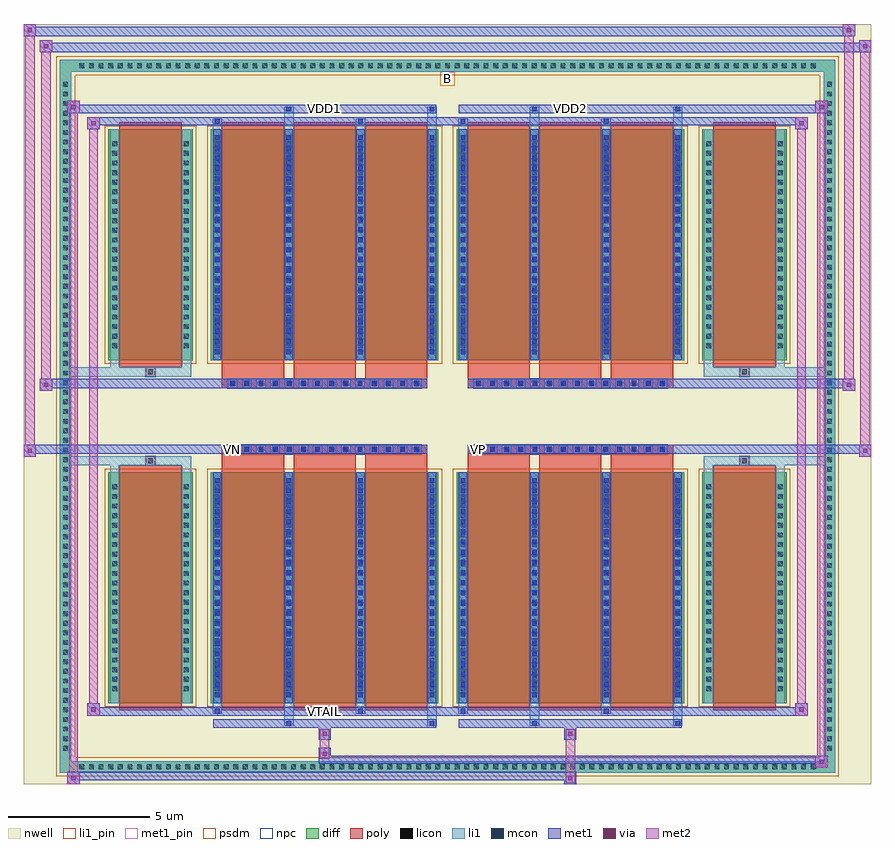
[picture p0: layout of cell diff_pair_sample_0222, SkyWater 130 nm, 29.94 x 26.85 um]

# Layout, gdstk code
import gdstk
lib = gdstk.Library(unit=1e-6, precision=5e-09)
def R(c, l, rs):  # rectangles x0, y0, x1, y1
    for r in rs: c.add(gdstk.rectangle(r[:2], r[2:], *l))
def A(c, l, x, y, w, h, nx, ny, dx, dy):  # array of equal rectangles
    R(c, l, [(x+i*dx, y+j*dy, x+i*dx+w, y+j*dy+h) for i in range(nx) for j in range(ny)])
def P(c, l, *ps):  # polygons
    for p in ps: c.add(gdstk.Polygon(p, *l))
nwell = (64, 20)
diff = (65, 20)
poly = (66, 20)
licon = (66, 44)
li1_pin = (67, 16)
li1 = (67, 20)
mcon = (67, 44)
met1_pin = (68, 16)
met1 = (68, 20)
via = (68, 44)
met2 = (69, 20)
psdm = (94, 20)
npc = (95, 20)

diff_pair_sample_0222 = lib.new_cell('diff_pair_sample_0222')
R(diff_pair_sample_0222, nwell, [(-14.97,-12.99,14.97,13.86), (-12.29,-11.18,-0.01,-0.8), (0.01,-11.18,12.29,-0.8), (-12.29,0.8,-0.01,11.18), (0.01,0.8,12.29,11.18)])
A(diff_pair_sample_0222, diff, -13.125, -12.59, 0.41, 0.41, 77, 2, 0.34, 24.77)
A(diff_pair_sample_0222, diff, -13.7, -11.935, 0.41, 0.41, 1, 70, 0, 0.34)
A(diff_pair_sample_0222, diff, 13.29, -11.935, 0.41, 0.41, 1, 70, 0, 0.34)
R(diff_pair_sample_0222, diff, [(-13.125,-12.59,13.125,-12.18), (-13.7,-11.935,-13.29,11.935), (13.29,-11.935,13.7,11.935), (-11.98,-10.135,-9,-1.985), (-8.36,-10.135,-0.32,-1.985), (0.32,-10.135,8.36,-1.985), (9,-10.135,11.98,-1.985), (-11.98,1.985,-9,10.135), (-8.36,1.985,-0.32,10.135), (0.32,1.985,8.36,10.135), (9,1.985,11.98,10.135), (-13.125,12.18,13.125,12.59)])
P(diff_pair_sample_0222, diff, [(13.7,12.59),(-13.7,12.59),(-13.7,-12.18),(-13.29,-12.18),(-13.29,12.18),(13.29,12.18),(13.29,-12.18),(-13.29,-12.18),(-13.7,-12.18),(-13.7,-12.59),(13.7,-12.59)])
A(diff_pair_sample_0222, poly, -7.97, -10.385, 2.2, 8.65, 3, 2, 2.53, 12.12)
A(diff_pair_sample_0222, poly, 0.71, -10.385, 2.2, 8.65, 3, 2, 2.53, 12.12)
A(diff_pair_sample_0222, poly, -7.97, -1.735, 2.2, 0.405, 3, 2, 2.53, 3.065)
A(diff_pair_sample_0222, poly, 0.71, -1.735, 2.2, 0.405, 3, 2, 2.53, 3.065)
A(diff_pair_sample_0222, poly, -7.755, -1.33, 0.33, 0.33, 14, 2, 0.5, 2.33)
A(diff_pair_sample_0222, poly, 0.925, -1.33, 0.33, 0.33, 14, 2, 0.5, 2.33)
R(diff_pair_sample_0222, poly, [(-11.59,-10.385,-9.39,-1.735), (9.39,-10.385,11.59,-1.735), (-10.655,-1.735,-10.325,-1.405), (-10.655,-1.735,-10.325,-1.405), (10.325,-1.735,10.655,-1.405), (10.325,-1.735,10.655,-1.405), (-7.97,-1.33,-0.71,-1), (0.71,-1.33,7.97,-1), (-7.97,1,-0.71,1.33), (0.71,1,7.97,1.33), (-10.655,1.405,-10.325,1.735), (-10.655,1.405,-10.325,1.735), (10.325,1.405,10.655,1.735), (10.325,1.405,10.655,1.735), (-11.59,1.735,-9.39,10.385), (9.39,1.735,11.59,10.385)])
A(diff_pair_sample_0222, licon, -13.005, -12.47, 0.17, 0.17, 77, 2, 0.34, 24.77)
A(diff_pair_sample_0222, licon, -13.58, -11.815, 0.17, 0.17, 1, 70, 0, 0.34)
A(diff_pair_sample_0222, licon, 13.41, -11.815, 0.17, 0.17, 1, 70, 0, 0.34)
A(diff_pair_sample_0222, licon, -11.84, -9.715, 0.17, 0.17, 1, 22, 0, 0.34)
A(diff_pair_sample_0222, licon, -9.31, -9.715, 0.17, 0.17, 1, 22, 0, 0.34)
A(diff_pair_sample_0222, licon, -8.22, -9.715, 0.17, 0.17, 4, 22, 2.53, 0.34)
A(diff_pair_sample_0222, licon, 0.46, -9.715, 0.17, 0.17, 4, 22, 2.53, 0.34)
A(diff_pair_sample_0222, licon, 9.14, -9.715, 0.17, 0.17, 1, 22, 0, 0.34)
A(diff_pair_sample_0222, licon, 11.67, -9.715, 0.17, 0.17, 1, 22, 0, 0.34)
A(diff_pair_sample_0222, licon, -7.675, -1.25, 0.17, 0.17, 14, 2, 0.5, 2.33)
A(diff_pair_sample_0222, licon, 1.005, -1.25, 0.17, 0.17, 14, 2, 0.5, 2.33)
A(diff_pair_sample_0222, licon, -11.84, 2.405, 0.17, 0.17, 1, 22, 0, 0.34)
A(diff_pair_sample_0222, licon, -9.31, 2.405, 0.17, 0.17, 1, 22, 0, 0.34)
A(diff_pair_sample_0222, licon, -8.22, 2.405, 0.17, 0.17, 4, 22, 2.53, 0.34)
A(diff_pair_sample_0222, licon, 0.46, 2.405, 0.17, 0.17, 4, 22, 2.53, 0.34)
A(diff_pair_sample_0222, licon, 9.14, 2.405, 0.17, 0.17, 1, 22, 0, 0.34)
A(diff_pair_sample_0222, licon, 11.67, 2.405, 0.17, 0.17, 1, 22, 0, 0.34)
R(diff_pair_sample_0222, licon, [(-10.575,-1.655,-10.405,-1.485), (10.405,-1.655,10.575,-1.485), (-10.575,1.485,-10.405,1.655), (10.405,1.485,10.575,1.655)])
R(diff_pair_sample_0222, li1_pin, [(-0.25,11.68,0.25,12.18)])
A(diff_pair_sample_0222, li1, -13.085, -12.55, 0.33, 0.33, 77, 2, 0.34, 24.77)
A(diff_pair_sample_0222, li1, -13.66, -11.895, 0.33, 0.33, 1, 70, 0, 0.34)
A(diff_pair_sample_0222, li1, 13.33, -11.895, 0.33, 0.33, 1, 70, 0, 0.34)
A(diff_pair_sample_0222, li1, -8.3, -10.135, 0.33, 8.15, 4, 2, 2.53, 12.12)
A(diff_pair_sample_0222, li1, 0.38, -10.135, 0.33, 8.15, 4, 2, 2.53, 12.12)
A(diff_pair_sample_0222, li1, -8.22, -9.925, 0.17, 0.17, 4, 22, 2.53, 0.36)
A(diff_pair_sample_0222, li1, -8.22, -9.925, 0.17, 7.73, 4, 2, 2.53, 12.12)
A(diff_pair_sample_0222, li1, 0.46, -9.925, 0.17, 0.17, 4, 22, 2.53, 0.36)
A(diff_pair_sample_0222, li1, 0.46, -9.925, 0.17, 7.73, 4, 2, 2.53, 12.12)
A(diff_pair_sample_0222, li1, -11.92, -9.795, 0.33, 0.33, 1, 22, 0, 0.34)
A(diff_pair_sample_0222, li1, -9.39, -9.795, 0.33, 0.33, 1, 22, 0, 0.34)
A(diff_pair_sample_0222, li1, -8.3, -9.795, 0.33, 0.33, 4, 22, 2.53, 0.34)
A(diff_pair_sample_0222, li1, 0.38, -9.795, 0.33, 0.33, 4, 22, 2.53, 0.34)
A(diff_pair_sample_0222, li1, 9.06, -9.795, 0.33, 0.33, 1, 22, 0, 0.34)
A(diff_pair_sample_0222, li1, 11.59, -9.795, 0.33, 0.33, 1, 22, 0, 0.34)
A(diff_pair_sample_0222, li1, -7.755, -1.33, 0.33, 0.33, 14, 2, 0.5, 2.33)
A(diff_pair_sample_0222, li1, 0.925, -1.33, 0.33, 0.33, 14, 2, 0.5, 2.33)
A(diff_pair_sample_0222, li1, -8.22, 2.195, 0.17, 0.17, 4, 22, 2.53, 0.36)
A(diff_pair_sample_0222, li1, 0.46, 2.195, 0.17, 0.17, 4, 22, 2.53, 0.36)
A(diff_pair_sample_0222, li1, -11.92, 2.325, 0.33, 0.33, 1, 22, 0, 0.34)
A(diff_pair_sample_0222, li1, -9.39, 2.325, 0.33, 0.33, 1, 22, 0, 0.34)
A(diff_pair_sample_0222, li1, -8.3, 2.325, 0.33, 0.33, 4, 22, 2.53, 0.34)
A(diff_pair_sample_0222, li1, 0.38, 2.325, 0.33, 0.33, 4, 22, 2.53, 0.34)
A(diff_pair_sample_0222, li1, 9.06, 2.325, 0.33, 0.33, 1, 22, 0, 0.34)
A(diff_pair_sample_0222, li1, 11.59, 2.325, 0.33, 0.33, 1, 22, 0, 0.34)
R(diff_pair_sample_0222, li1, [(-13.7,-12.59,-13.29,-12.18), (-13.7,-12.59,-13.29,-12.18), (-13.29,-12.59,13.29,-12.18), (13.29,-12.59,13.7,-12.18), (13.29,-12.59,13.7,-12.18), (-13.7,-12.18,-13.29,12.18), (13.29,-12.18,13.7,12.18), (-5.77,-10.94,-5.44,-10.135), (-5.69,-10.94,-5.52,-10.77), (-0.71,-10.94,-0.38,-10.135), (-0.63,-10.94,-0.46,-10.77), (2.91,-10.94,3.24,-10.135), (2.99,-10.94,3.16,-10.77), (7.97,-10.94,8.3,-10.135), (8.05,-10.94,8.22,-10.77), (-8.3,-10.51,-7.97,-10.135), (-8.22,-10.51,-8.05,-10.34), (-3.24,-10.51,-2.91,-10.135), (-3.16,-10.51,-2.99,-10.34), (0.38,-10.51,0.71,-10.135), (0.46,-10.51,0.63,-10.34), (5.44,-10.51,5.77,-10.135), (5.52,-10.51,5.69,-10.34), (-11.92,-10.135,-11.59,-1.985), (-9.39,-10.135,-9.06,-1.985), (9.06,-10.135,9.39,-1.985), (11.59,-10.135,11.92,-1.985), (-11.92,-1.985,-11.59,-1.405), (-9.39,-1.985,-9.06,-1.405), (9.06,-1.985,9.39,-1.405), (11.59,-1.985,11.92,-1.405), (-13.7,-1.735,-10.655,-1.405), (-11.92,-1.735,-10.655,-1.405), (-10.655,-1.735,-10.325,-1.405), (-10.325,-1.735,-9.06,-1.405), (9.06,-1.735,10.325,-1.405), (10.325,-1.735,10.655,-1.405), (10.325,-1.735,13.7,-1.405), (10.655,-1.735,11.92,-1.405), (-13.7,1.405,-10.655,1.735), (-11.92,1.405,-10.655,1.735), (-11.92,1.405,-11.59,1.985), (-10.655,1.405,-10.325,1.735), (-10.325,1.405,-9.06,1.735), (-9.39,1.405,-9.06,1.985), (9.06,1.405,10.325,1.735), (9.06,1.405,9.39,1.985), (10.325,1.405,10.655,1.735), (10.325,1.405,13.7,1.735), (10.655,1.405,11.92,1.735), (11.59,1.405,11.92,1.985), (-11.92,1.985,-11.59,10.135), (-9.39,1.985,-9.06,10.135), (9.06,1.985,9.39,10.135), (11.59,1.985,11.92,10.135), (-8.3,10.135,-7.97,10.51), (-5.77,10.135,-5.44,10.94), (-3.24,10.135,-2.91,10.51), (-0.71,10.135,-0.38,10.94), (0.38,10.135,0.71,10.51), (2.91,10.135,3.24,10.94), (5.44,10.135,5.77,10.51), (7.97,10.135,8.3,10.94), (-8.22,10.34,-8.05,10.51), (-3.16,10.34,-2.99,10.51), (0.46,10.34,0.63,10.51), (5.52,10.34,5.69,10.51), (-5.69,10.77,-5.52,10.94), (-0.63,10.77,-0.46,10.94), (2.99,10.77,3.16,10.94), (8.05,10.77,8.22,10.94), (-13.7,12.18,-13.29,12.59), (-13.7,12.18,-13.29,12.59), (-13.29,12.18,13.29,12.59), (13.29,12.18,13.7,12.59), (13.29,12.18,13.7,12.59)])
A(diff_pair_sample_0222, mcon, -8.22, -9.925, 0.17, 0.17, 4, 22, 2.53, 0.36)
A(diff_pair_sample_0222, mcon, 0.46, -9.925, 0.17, 0.17, 4, 22, 2.53, 0.36)
A(diff_pair_sample_0222, mcon, -7.675, -1.25, 0.17, 0.17, 14, 2, 0.5, 2.33)
A(diff_pair_sample_0222, mcon, 1.005, -1.25, 0.17, 0.17, 14, 2, 0.5, 2.33)
A(diff_pair_sample_0222, mcon, -8.22, 2.195, 0.17, 0.17, 4, 22, 2.53, 0.36)
A(diff_pair_sample_0222, mcon, 0.46, 2.195, 0.17, 0.17, 4, 22, 2.53, 0.36)
R(diff_pair_sample_0222, mcon, [(-5.69,-10.94,-5.52,-10.77), (-0.63,-10.94,-0.46,-10.77), (2.99,-10.94,3.16,-10.77), (8.05,-10.94,8.22,-10.77), (-8.22,-10.51,-8.05,-10.34), (-3.16,-10.51,-2.99,-10.34), (0.46,-10.51,0.63,-10.34), (5.52,-10.51,5.69,-10.34), (-8.22,10.34,-8.05,10.51), (-3.16,10.34,-2.99,10.51), (0.46,10.34,0.63,10.51), (5.52,10.34,5.69,10.51), (-5.69,10.77,-5.52,10.94), (-0.63,10.77,-0.46,10.94), (2.99,10.77,3.16,10.94), (8.05,10.77,8.22,10.94)])
R(diff_pair_sample_0222, met1_pin, [(-4.475,-10.55,-4.205,-10.28), (-7.725,-1.29,-7.455,-1.02), (0.955,-1.29,1.225,-1.02), (-4.475,10.73,-4.205,11), (4.205,10.73,4.475,11)])
A(diff_pair_sample_0222, met1, -8.28, -10.135, 0.29, 8.15, 4, 2, 2.53, 12.12)
A(diff_pair_sample_0222, met1, 0.4, -10.135, 0.29, 8.15, 4, 2, 2.53, 12.12)
A(diff_pair_sample_0222, met1, -8.28, -9.985, 0.29, 0.29, 4, 22, 2.53, 0.36)
A(diff_pair_sample_0222, met1, 0.4, -9.985, 0.29, 0.29, 4, 22, 2.53, 0.36)
A(diff_pair_sample_0222, met1, -7.735, -1.31, 0.29, 0.29, 14, 2, 0.5, 2.33)
A(diff_pair_sample_0222, met1, 0.945, -1.31, 0.29, 0.29, 14, 2, 0.5, 2.33)
A(diff_pair_sample_0222, met1, -8.28, 2.135, 0.29, 0.29, 4, 22, 2.53, 0.36)
A(diff_pair_sample_0222, met1, 0.4, 2.135, 0.29, 0.29, 4, 22, 2.53, 0.36)
R(diff_pair_sample_0222, met1, [(-13.43,-12.99,-13,-12.56), (4.125,-12.99,4.555,-12.56), (-13.43,-12.85,4.555,-12.56), (13,-12.42,13.43,-11.99), (-4.555,-12.28,13.43,-11.99), (-4.555,-12.14,-4.125,-11.71), (-4.555,-11.43,-4.125,-11), (4.125,-11.43,4.555,-11), (-8.28,-11,-0.4,-10.71), (-5.75,-11,-5.46,-10.71), (-0.69,-11,-0.4,-10.71), (0.4,-11,8.28,-10.71), (2.93,-11,3.22,-10.71), (7.99,-11,8.28,-10.71), (-12.72,-10.57,-12.29,-10.14), (-12.72,-10.57,-8.28,-10.28), (-8.28,-10.57,-7.99,-10.28), (-8.28,-10.57,-0.4,-10.28), (-3.22,-10.57,-2.93,-10.28), (-0.4,-10.57,0.4,-10.28), (0.4,-10.57,0.69,-10.28), (0.4,-10.57,8.28,-10.28), (5.46,-10.57,5.75,-10.28), (8.28,-10.57,12.72,-10.28), (12.29,-10.57,12.72,-10.14), (-14.97,-1.43,-14.54,-1), (14.54,-1.43,14.97,-1), (-14.97,-1.33,-0.71,-1), (-7.97,-1.33,-0.71,-1), (0.71,-1.33,7.97,-1), (0.71,-1.33,14.97,-1), (-14.4,0.9,-13.97,1.33), (13.97,0.9,14.4,1.33), (-14.4,1,-7.97,1.33), (-7.97,1,-0.71,1.33), (0.71,1,7.97,1.33), (7.97,1,14.4,1.33), (-12.72,10.14,-12.29,10.57), (12.29,10.14,12.72,10.57), (-12.72,10.28,-8.28,10.57), (-8.28,10.28,-7.99,10.57), (-8.28,10.28,-0.4,10.57), (-3.22,10.28,-2.93,10.57), (-0.4,10.28,0.4,10.57), (0.4,10.28,0.69,10.57), (0.4,10.28,8.28,10.57), (5.46,10.28,5.75,10.57), (8.28,10.28,12.72,10.57), (-13.43,10.71,-13,11.14), (-13.43,10.71,-8.28,11), (-8.28,10.71,-0.4,11), (-5.75,10.71,-5.46,11), (-0.69,10.71,-0.4,11), (0.4,10.71,8.28,11), (2.93,10.71,3.22,11), (7.99,10.71,8.28,11), (8.28,10.71,13.43,11), (13,10.71,13.43,11.14), (-14.4,12.86,-13.97,13.29), (-14.4,12.86,-12.29,13.19), (-12.29,12.86,12.29,13.19), (12.29,12.86,14.97,13.19), (14.54,12.86,14.97,13.29), (-14.97,13.43,-14.54,13.86), (-14.97,13.43,-12.29,13.76), (-12.29,13.43,12.29,13.76), (12.29,13.43,14.4,13.76), (13.97,13.43,14.4,13.86)])
R(diff_pair_sample_0222, via, [(-13.29,-12.85,-13.14,-12.7), (4.265,-12.85,4.415,-12.7), (13.14,-12.28,13.29,-12.13), (-4.415,-12,-4.265,-11.85), (-4.415,-11.29,-4.265,-11.14), (4.265,-11.29,4.415,-11.14), (-12.58,-10.43,-12.43,-10.28), (12.43,-10.43,12.58,-10.28), (-14.83,-1.29,-14.68,-1.14), (14.68,-1.29,14.83,-1.14), (-14.26,1.04,-14.11,1.19), (14.11,1.04,14.26,1.19), (-12.58,10.28,-12.43,10.43), (12.43,10.28,12.58,10.43), (-13.29,10.85,-13.14,11), (13.14,10.85,13.29,11), (-14.26,13,-14.11,13.15), (14.68,13,14.83,13.15), (-14.83,13.57,-14.68,13.72), (14.11,13.57,14.26,13.72)])
R(diff_pair_sample_0222, met2, [(-13.43,-12.99,-13,-12.56), (-13.36,-12.99,-13.07,11.14), (-13.07,-12.99,-13,-12.56), (-13.38,-12.94,-13.05,-12.61), (4.175,-12.94,4.505,-12.61), (4.175,-12.61,4.505,-11.38), (13,-12.42,13.43,-11.99), (13.07,-12.42,13.36,11.14), (13.36,-12.42,13.43,-11.99), (13.05,-12.37,13.38,-12.04), (-4.505,-12.09,-4.175,-11.76), (-4.505,-11.76,-4.175,-11.38), (-4.505,-11.38,-4.175,-11.05), (4.175,-11.38,4.505,-11.05), (-12.72,-10.57,-12.29,-10.14), (-12.65,-10.57,-12.36,10.57), (-12.36,-10.57,-12.29,-10.14), (12.29,-10.57,12.72,-10.14), (12.36,-10.57,12.65,10.57), (12.65,-10.57,12.72,-10.14), (-12.67,-10.52,-12.34,-10.19), (12.34,-10.52,12.67,-10.19), (-14.97,-1.43,-14.54,-1), (-14.92,-1.43,-14.59,13.86), (-14.59,-1.43,-14.54,-1), (14.54,-1.43,14.97,-1), (14.59,-1.43,14.92,13.29), (14.92,-1.43,14.97,-1), (-14.92,-1.38,-14.59,-1.05), (14.59,-1.38,14.92,-1.05), (-14.4,0.9,-13.97,1.33), (-14.35,0.9,-14.02,13.29), (-14.02,0.9,-13.97,1.33), (13.97,0.9,14.4,1.33), (14.02,0.9,14.35,13.86), (14.35,0.9,14.4,1.33), (-14.35,0.95,-14.02,1.28), (14.02,0.95,14.35,1.28), (-12.72,10.14,-12.29,10.57), (-12.36,10.14,-12.29,10.57), (12.29,10.14,12.72,10.57), (12.65,10.14,12.72,10.57), (-12.67,10.19,-12.34,10.52), (12.34,10.19,12.67,10.52), (-13.43,10.71,-13,11.14), (-13.07,10.71,-13,11.14), (13,10.71,13.43,11.14), (13.36,10.71,13.43,11.14), (-13.38,10.76,-13.05,11.09), (13.05,10.76,13.38,11.09), (-14.4,12.86,-13.97,13.29), (-14.02,12.86,-13.97,13.29), (14.54,12.86,14.97,13.29), (14.92,12.86,14.97,13.29), (-14.35,12.91,-14.02,13.24), (14.59,12.91,14.92,13.24), (-14.97,13.43,-14.54,13.86), (-14.59,13.43,-14.54,13.86), (13.97,13.43,14.4,13.86), (14.35,13.43,14.4,13.86), (-14.92,13.48,-14.59,13.81), (14.02,13.48,14.35,13.81)])
R(diff_pair_sample_0222, psdm, [(-12.11,-10.265,-8.87,-1.855), (-8.49,-10.265,-0.19,-1.855), (0.19,-10.265,8.49,-1.855), (8.87,-10.265,12.11,-1.855), (-12.11,1.855,-8.87,10.265), (-8.49,1.855,-0.19,10.265), (0.19,1.855,8.49,10.265), (8.87,1.855,12.11,10.265)])
P(diff_pair_sample_0222, psdm, [(13.83,12.72),(-13.83,12.72),(-13.83,-12.05),(-13.16,-12.05),(-13.16,12.05),(13.16,12.05),(13.16,-12.05),(-13.16,-12.05),(-13.83,-12.05),(-13.83,-12.72),(13.83,-12.72)])
A(diff_pair_sample_0222, npc, -7.775, -1.35, 0.37, 0.37, 14, 2, 0.5, 2.33)
A(diff_pair_sample_0222, npc, 0.905, -1.35, 0.37, 0.37, 14, 2, 0.5, 2.33)
R(diff_pair_sample_0222, npc, [(-10.675,-1.755,-10.305,-1.385), (10.305,-1.755,10.675,-1.385), (-7.775,-1.35,-6.905,-0.98), (-7.775,-1.35,-6.905,-0.98), (-7.275,-1.35,-6.405,-0.98), (-7.275,-1.35,-6.405,-0.98), (-6.775,-1.35,-5.905,-0.98), (-6.775,-1.35,-5.905,-0.98), (-6.275,-1.35,-5.405,-0.98), (-6.275,-1.35,-5.405,-0.98), (-5.775,-1.35,-4.905,-0.98), (-5.775,-1.35,-4.905,-0.98), (-5.275,-1.35,-4.405,-0.98), (-5.275,-1.35,-4.405,-0.98), (-4.775,-1.35,-3.905,-0.98), (-4.775,-1.35,-3.905,-0.98), (-4.275,-1.35,-3.405,-0.98), (-4.275,-1.35,-3.405,-0.98), (-3.775,-1.35,-2.905,-0.98), (-3.775,-1.35,-2.905,-0.98), (-3.275,-1.35,-2.405,-0.98), (-3.275,-1.35,-2.405,-0.98), (-2.775,-1.35,-1.905,-0.98), (-2.775,-1.35,-1.905,-0.98), (-2.275,-1.35,-1.405,-0.98), (-2.275,-1.35,-1.405,-0.98), (-1.775,-1.35,-0.905,-0.98), (-1.775,-1.35,-0.905,-0.98), (0.905,-1.35,1.775,-0.98), (0.905,-1.35,1.775,-0.98), (1.405,-1.35,2.275,-0.98), (1.405,-1.35,2.275,-0.98), (1.905,-1.35,2.775,-0.98), (1.905,-1.35,2.775,-0.98), (2.405,-1.35,3.275,-0.98), (2.405,-1.35,3.275,-0.98), (2.905,-1.35,3.775,-0.98), (2.905,-1.35,3.775,-0.98), (3.405,-1.35,4.275,-0.98), (3.405,-1.35,4.275,-0.98), (3.905,-1.35,4.775,-0.98), (3.905,-1.35,4.775,-0.98), (4.405,-1.35,5.275,-0.98), (4.405,-1.35,5.275,-0.98), (4.905,-1.35,5.775,-0.98), (4.905,-1.35,5.775,-0.98), (5.405,-1.35,6.275,-0.98), (5.405,-1.35,6.275,-0.98), (5.905,-1.35,6.775,-0.98), (5.905,-1.35,6.775,-0.98), (6.405,-1.35,7.275,-0.98), (6.405,-1.35,7.275,-0.98), (6.905,-1.35,7.775,-0.98), (6.905,-1.35,7.775,-0.98), (-7.775,0.98,-6.905,1.35), (-7.775,0.98,-6.905,1.35), (-7.275,0.98,-6.405,1.35), (-7.275,0.98,-6.405,1.35), (-6.775,0.98,-5.905,1.35), (-6.775,0.98,-5.905,1.35), (-6.275,0.98,-5.405,1.35), (-6.275,0.98,-5.405,1.35), (-5.775,0.98,-4.905,1.35), (-5.775,0.98,-4.905,1.35), (-5.275,0.98,-4.405,1.35), (-5.275,0.98,-4.405,1.35), (-4.775,0.98,-3.905,1.35), (-4.775,0.98,-3.905,1.35), (-4.275,0.98,-3.405,1.35), (-4.275,0.98,-3.405,1.35), (-3.775,0.98,-2.905,1.35), (-3.775,0.98,-2.905,1.35), (-3.275,0.98,-2.405,1.35), (-3.275,0.98,-2.405,1.35), (-2.775,0.98,-1.905,1.35), (-2.775,0.98,-1.905,1.35), (-2.275,0.98,-1.405,1.35), (-2.275,0.98,-1.405,1.35), (-1.775,0.98,-0.905,1.35), (-1.775,0.98,-0.905,1.35), (0.905,0.98,1.775,1.35), (0.905,0.98,1.775,1.35), (1.405,0.98,2.275,1.35), (1.405,0.98,2.275,1.35), (1.905,0.98,2.775,1.35), (1.905,0.98,2.775,1.35), (2.405,0.98,3.275,1.35), (2.405,0.98,3.275,1.35), (2.905,0.98,3.775,1.35), (2.905,0.98,3.775,1.35), (3.405,0.98,4.275,1.35), (3.405,0.98,4.275,1.35), (3.905,0.98,4.775,1.35), (3.905,0.98,4.775,1.35), (4.405,0.98,5.275,1.35), (4.405,0.98,5.275,1.35), (4.905,0.98,5.775,1.35), (4.905,0.98,5.775,1.35), (5.405,0.98,6.275,1.35), (5.405,0.98,6.275,1.35), (5.905,0.98,6.775,1.35), (5.905,0.98,6.775,1.35), (6.405,0.98,7.275,1.35), (6.405,0.98,7.275,1.35), (6.905,0.98,7.775,1.35), (6.905,0.98,7.775,1.35), (-10.675,1.385,-10.305,1.755), (10.305,1.385,10.675,1.755)])
diff_pair_sample_0222.add(gdstk.Label('VTAIL', (-4.34,-10.415), layer=68, texttype=5))
diff_pair_sample_0222.add(gdstk.Label('VN', (-7.59,-1.155), layer=68, texttype=5))
diff_pair_sample_0222.add(gdstk.Label('VP', (1.09,-1.155), layer=68, texttype=5))
diff_pair_sample_0222.add(gdstk.Label('B', (0,11.93), layer=67, texttype=5))
diff_pair_sample_0222.add(gdstk.Label('VDD2', (4.34,10.865), layer=68, texttype=5))
diff_pair_sample_0222.add(gdstk.Label('VDD1', (-4.34,10.865), layer=68, texttype=5))

lib.write_gds('diff_pair_sample_0222.gds')
